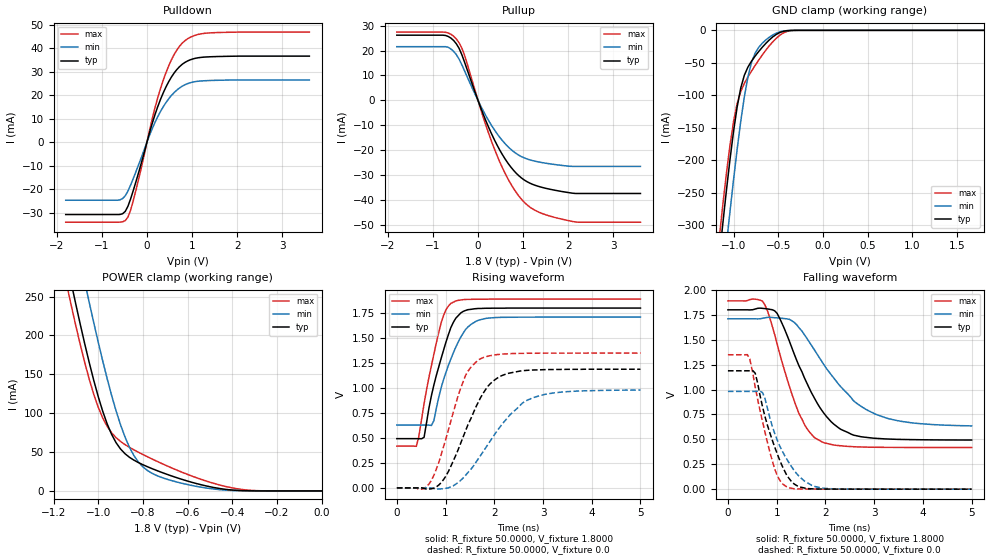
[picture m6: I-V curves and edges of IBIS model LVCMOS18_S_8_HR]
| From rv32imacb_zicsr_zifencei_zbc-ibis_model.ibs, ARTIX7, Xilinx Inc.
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[Model]  LVCMOS18_S_8_HR
Model_type I/O
Polarity   Non-Inverting
Enable   Active-Low
Vinl = 0.63
Vinh = 1.17
Vmeas =  0.9000V
Cref =   0.0F
Rref =   1.0000M
Vref =   0.0V
C_comp   7.65pF   7.52pF   7.67pF
[Model Spec]
Vinl   0.63   0.5985   0.6615
Vinh   1.17   1.1115   1.2285
[Temperature Range]   25.0000   85.0000   0.0
[Voltage Range]   1.8000V   1.7100V   1.8900V
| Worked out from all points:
|   slope of the pulldown table from 0 to 0.27 V, typ, clamps not added: 16.2 ohm
|   slope of the pullup table from 0 to 0.27 V, typ, clamps not added: 22.2 ohm
|   GND clamp passes 1 mA (typ) near -0.42 V on its own axis
|   POWER clamp passes 1 mA (typ) near -0.39 V on its own axis
|   rising waveform, R_fixture 50.0000, V_fixture 1.8000: 20-80 % time 417ps typ, 463ps min, 364ps max; typ from 0.492 V to 1.8 V
|   rising waveform, R_fixture 50.0000, V_fixture 0.0: 20-80 % time 647ps typ, 906ps min, 503ps max; typ from 0 V to 1.19 V
|   falling waveform, R_fixture 50.0000, V_fixture 1.8000: 20-80 % time 763ps typ, 1.03ns min, 575ps max; typ from 1.8 V to 0.493 V
|   falling waveform, R_fixture 50.0000, V_fixture 0.0: 20-80 % time 455ps typ, 523ps min, 379ps max; typ from 1.19 V to 0 V
[Pulldown]
|Voltage   I(typ)   I(min)   I(max)
-1.8V     -30.79mA   -24.69mA   -34.04mA
-600mV    -30.76mA   -24.54mA   -34.01mA
-480mV    -29.44mA   -22.78mA   -33.36mA
-420mV    -27.23mA   -20.75mA   -31.83mA
-240mV    -16.58mA   -12.34mA   -20.17mA
120mV     8.208mA    5.91mA     10.22mA
300mV     18.22mA    13.09mA    22.83mA
540mV     27.7mA     19.87mA    35.02mA
660mV     30.92mA    22.18mA    39.23mA
840mV     33.99mA    24.48mA    43.24mA
1.32V     36.34mA    26.25mA    46.49mA
3.6V      36.7mA     26.55mA    46.93mA
[Pullup]
|Voltage   I(typ)   I(min)   I(max)
-1.8V     26.14mA    21.53mA    27.38mA
-720mV    26.02mA    21.53mA    27.3mA
-480mV    22.68mA    18.33mA    24.6mA
-360mV    18.38mA    14.34mA    21.01mA
-300mV    15.4mA     11.91mA    18.16mA
120mV     -5.746mA   -4.326mA   -7.006mA
420mV     -17.82mA   -13.27mA   -22mA
780mV     -27.85mA   -20.39mA   -35.06mA
1.14V     -33.06mA   -23.77mA   -42.61mA
1.5V      -35.2mA    -25.15mA   -45.81mA
2.16V     -37.27mA   -26.43mA   -48.69mA
3.6V      -37.27mA   -26.43mA   -48.78mA
[GND_clamp]
|Voltage   I(typ)   I(min)   I(max)
-1.8V     -1.3A      -1.383A    -1.269A
-1.16V    -348.9mA   -435.6mA   -318.5mA
-1.12V    -296.3mA   -381.5mA   -267.4mA
-1.08V    -245.7mA   -328.8mA   -219.5mA
-1.04V    -198.1mA   -278mA     -176.3mA
-960mV    -117.6mA   -182.5mA   -112.3mA
-920mV    -88.68mA   -139.8mA   -94.04mA
-840mV    -56.6mA    -71.86mA   -71.82mA
-760mV    -39.79mA   -35.41mA   -54.21mA
-560mV    -9.966mA   -7.013mA   -17.38mA
-320mV    -48.25uA   -58.21uA   -167.2uA
1.8V      18.21nA    526.7nA    -33.91nA
[POWER_clamp]
|Voltage   I(typ)   I(min)   I(max)
-1.8V     1.291A     1.371A     1.26A
-1.14V    293.9mA    379.2mA    264mA
-1.1V     239.9mA    323.1mA    212.2mA
-1.06V    188.9mA    268.7mA    164.9mA
-1.04V    165mA      242.3mA    143.6mA
-980mV    102.7mA    167.5mA    94.04mA
-940mV    72.79mA    123mA      74.84mA
-860mV    43.26mA    56.15mA    56.08mA
-800mV    33.74mA    30.98mA    46.86mA
-660mV    18.15mA    12.38mA    28.25mA
-400mV    1.141mA    578.2uA    3.907mA
0V        0A         0A         0A
[Ramp]
| variable   typ   min   max
dV/dt_r  0.7122/0.6373n   0.5873/0.9062n   0.8094/0.5033n
dV/dt_f  0.7840/0.7531n   0.6449/1.0703n   0.8832/0.5671n
R_load = 50.0000
[Rising Waveform]
R_fixture= 50.0000
V_fixture= 1.8000
V_fixture_min= 1.7100
V_fixture_max= 1.8900
|time   V(typ)   V(min)   V(max)
0s        492.5mV    628.3mV    417.8mV
400ps     492.5mV    628.3mV    416mV
450ps     492.5mV    628.3mV    510.1mV
560ps     506.9mV    628.3mV    844.6mV
760ps     1.028V     671.7mV    1.336V
960ps     1.379V     1.085V     1.725V
1.11ns    1.605V     1.29V      1.846V
1.41ns    1.775V     1.584V     1.885V
1.82ns    1.797V     1.695V     1.888V
5ns       1.799V     1.709V     1.889V
[Rising Waveform]
R_fixture= 50.0000
V_fixture= 0.0
|time   V(typ)   V(min)   V(max)
0s        0V         503.3nV    614.9nV
510ps     651uV      7.368uV    -12.81mV
710ps     -9.18mV    -810.1uV   75.14mV
1.01ns    121mV      -3.904mV   494.2mV
1.41ns    570.4mV    125.4mV    1.124V
1.67ns    855.3mV    289.3mV    1.28V
1.87ns    1.017V     434.7mV    1.318V
2.12ns    1.116V     611mV      1.337V
2.78ns    1.179V     899mV      1.347V
5ns       1.187V     978.8mV    1.349V
[Falling Waveform]
R_fixture= 50.0000
V_fixture= 1.8000
V_fixture_min= 1.7100
V_fixture_max= 1.8900
|time   V(typ)   V(min)   V(max)
0s        1.8V       1.71V      1.89V
710ps     1.815V     1.715V     1.887V
810ps     1.809V     1.724V     1.793V
1.01ns    1.764V     1.719V     1.457V
1.46ns    1.236V     1.619V     756.7mV
1.77ns    918.4mV    1.402V     519.8mV
2.02ns    730.5mV    1.212V     460.1mV
2.32ns    599.6mV    1.026V     435.3mV
3.03ns    510.4mV    752.2mV    420.7mV
5ns       493.3mV    635.1mV    418mV
[Falling Waveform]
R_fixture= 50.0000
V_fixture= 0.0
|time   V(typ)   V(min)   V(max)
0s        1.188V     981.1mV    1.349V
400ps     1.188V     981.1mV    1.35V
450ps     1.188V     981.1mV    1.305V
560ps     1.164V     981mV      1.026V
710ps     827.2mV    969.6mV    678.7mV
960ps     423.1mV    560mV      203.6mV
1.21ns    137mV      299.9mV    21.41mV
1.57ns    11.65mV    81.8mV     1.133mV
1.92ns    1.224mV    11.73mV    486.8uV
5ns       56.99uV    105.8uV    41.42uV
